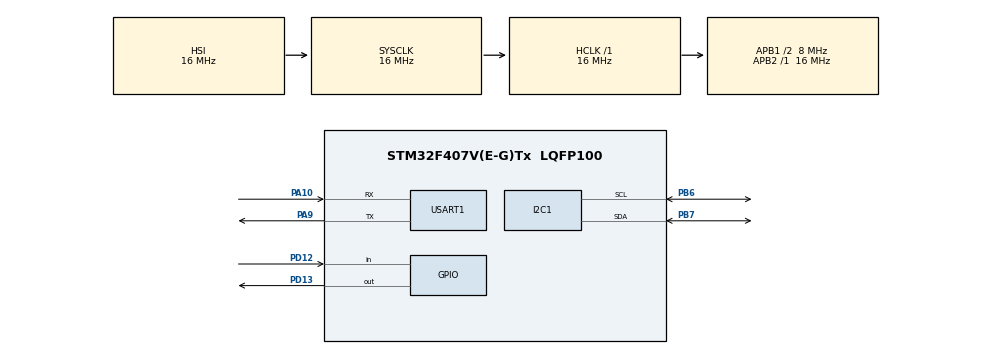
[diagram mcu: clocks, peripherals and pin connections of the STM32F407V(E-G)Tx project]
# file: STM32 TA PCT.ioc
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Mcu.Family=STM32F4
Mcu.Name=STM32F407V(E-G)Tx
Mcu.Package=LQFP100
NVIC.PriorityGroup=NVIC_PRIORITYGROUP_4
PA10.Mode=Asynchronous
PA10.Signal=USART1_RX
PA13.Mode=Serial_Wire
PA13.Signal=SYS_JTMS-SWDIO
PA14.Mode=Serial_Wire
PA14.Signal=SYS_JTCK-SWCLK
PA9.Mode=Asynchronous
PA9.Signal=USART1_TX
PB6.Mode=I2C
PB6.Signal=I2C1_SCL
PB7.Mode=I2C
PB7.Signal=I2C1_SDA
PD12.Signal=GPIO_Input
PD13.Signal=GPIO_Output
ProjectManager.HeapSize=0x200
ProjectManager.StackSize=0x400
ProjectManager.TargetToolchain=STM32CubeIDE
RCC.48MHZClocksFreq_Value=48000000
RCC.AHBFreq_Value=16000000
RCC.APB1CLKDivider=RCC_HCLK_DIV2
RCC.APB1Freq_Value=8000000
RCC.APB1TimFreq_Value=16000000
RCC.APB2Freq_Value=16000000
RCC.APB2TimFreq_Value=16000000
RCC.CortexFreq_Value=16000000
RCC.HCLKFreq_Value=16000000
RCC.HSE_VALUE=25000000
RCC.HSI_VALUE=16000000
RCC.LSE_VALUE=32768
RCC.SYSCLKFreq_VALUE=16000000
RCC.VCOOutputFreq_Value=192000000
USART1.VirtualMode=VM_ASYNC
board=custom

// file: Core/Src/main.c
/* USER CODE BEGIN Header */
/**
  ******************************************************************************
  * @file           : main.c
  * @brief          : Main program body
  ******************************************************************************
  * @attention
  *
  * Copyright (c) 2023 STMicroelectronics.
  * All rights reserved.
  *
  * This software is licensed under terms that can be found in the LICENSE file
  * in the root directory of this software component.
  * If no LICENSE file comes with this software, it is provided AS-IS.
  *
  ******************************************************************************
  */
/* USER CODE END Header */
#include "main.h"

/* USER CODE BEGIN Includes */
#include "ADS1115.h"
/* USER CODE END Includes */

I2C_HandleTypeDef hi2c1;

UART_HandleTypeDef huart1;

/* USER CODE BEGIN PV */
int n = 0;
int flow,level = 0;
uint32_t value=69;  // to store the adc values

void InitADS1115(); // You realisation I2C by default it's I2C1 pins PB6 PB7

uint_fast16_t getData(uint8_t number); void selectInput(uint8_t number);

/* USER CODE END PV */

void SystemClock_Config(void);
static void MX_GPIO_Init(void);
static void MX_I2C1_Init(void);
static void MX_USART1_UART_Init(void);

/* USER CODE BEGIN 0 */
#define ADS1115_ADDRESS 0x4A
unsigned char ADSwrite[6];
int16_t reading;
float voltage[4];
const float voltageConv = 6.114 / 32768.0;
/* USER CODE END 0 */

int main(void)
{
  /* USER CODE BEGIN 1 */
	uint8_t message[35] = {'\0'};
  /* USER CODE END 1 */

  /* MCU Configuration--------------------------------------------------------*/

  /* Reset of all peripherals, Initializes the Flash interface and the Systick. */
  HAL_Init();

  /* Configure the system clock */
  SystemClock_Config();

  /* Initialize all configured peripherals */
  MX_GPIO_Init();
  MX_I2C1_Init();
  MX_USART1_UART_Init();
  /* USER CODE BEGIN 2 */
//  void InitADS1115(); // You realisation I2C by default it's I2C1 pins PB6 PB7

//  uint_fast16_t getData(uint8_t number); void selectInput(uint8_t number);
  /* USER CODE END 2 */

  /* Infinite loop */
  while (1)
  {

    /* USER CODE BEGIN 3 */
//	  HAL_GPIO_WritePin(GPIOD, GPIO_PIN_13, GPIO_PIN_SET);
//	  HAL_ADC_Start_DMA(&hadc1, value, 1); //start adc in dma mode
//	  HAL_ADC_Start(&hadc1);
//	  HAL_ADC_PollForConversion(&hadc1, 1000);
////	  value = HAL_ADC_GetValue(&hadc1);
//	  HAL_ADC_Stop(&hadc1);
	  n = n+1;
//	  HAL_Delay(100);
//	  HAL_GPIO_WritePin(GPIOD, GPIO_PIN_13, GPIO_PIN_RESET);
//	  HAL_Delay(100);
	  for(int i=0; i< 4; i++){
	  			ADSwrite[0] = 0x01;

	  			switch(i){
	  				case(0):
	  					ADSwrite[1] = 0xC1; //11000001
	  				break;
	  				case(1):
	  					ADSwrite[1] = 0xD1; //11010001
	  				break;
	  				case(2):
	  					ADSwrite[1] = 0xE1;
	  				break;
	  				case(3):
	  					ADSwrite[1] = 0xF1;
	  				break;
	  			}

	  			ADSwrite[2] = 0x83; //10000011 LSB

	  			HAL_I2C_Master_Transmit(&hi2c1, ADS1115_ADDRESS << 1, ADSwrite, 3, 100);
	  			ADSwrite[0] = 0x00;
	  			HAL_I2C_Master_Transmit(&hi2c1, ADS1115_ADDRESS << 1 , ADSwrite, 1 ,100);
	  			HAL_Delay(20);

	  			HAL_I2C_Master_Receive(&hi2c1, ADS1115_ADDRESS <<1, ADSwrite, 2, 100);
	  			reading = (ADSwrite[0] << 8 | ADSwrite[1] );
	  			if(reading < 0) {
	  				reading = 0;
	  			}
	  			voltage[i] = reading * voltageConv;

	  		}
	  sprintf(message,"dadsadasd",reading);
	  HAL_UART_Transmit(&huart1, message, sizeof(message), 100);
//	  flow = value[0];
//	  level = value[1];

  }
  /* USER CODE END 3 */
}

void SystemClock_Config(void)
{
  RCC_OscInitTypeDef RCC_OscInitStruct = {0};
  RCC_ClkInitTypeDef RCC_ClkInitStruct = {0};

  /** Configure the main internal regulator output voltage
  */
  __HAL_RCC_PWR_CLK_ENABLE();
  __HAL_PWR_VOLTAGESCALING_CONFIG(PWR_REGULATOR_VOLTAGE_SCALE1);
  /** Initializes the RCC Oscillators according to the specified parameters
  * in the RCC_OscInitTypeDef structure.
  */
  RCC_OscInitStruct.OscillatorType = RCC_OSCILLATORTYPE_HSI;
  RCC_OscInitStruct.HSIState = RCC_HSI_ON;
  RCC_OscInitStruct.HSICalibrationValue = RCC_HSICALIBRATION_DEFAULT;
  RCC_OscInitStruct.PLL.PLLState = RCC_PLL_NONE;
  if (HAL_RCC_OscConfig(&RCC_OscInitStruct) != HAL_OK)
  {
    Error_Handler();
  }
  /** Initializes the CPU, AHB and APB buses clocks
  */
  RCC_ClkInitStruct.ClockType = RCC_CLOCKTYPE_HCLK|RCC_CLOCKTYPE_SYSCLK
                              |RCC_CLOCKTYPE_PCLK1|RCC_CLOCKTYPE_PCLK2;
  RCC_ClkInitStruct.SYSCLKSource = RCC_SYSCLKSOURCE_HSI;
  RCC_ClkInitStruct.AHBCLKDivider = RCC_SYSCLK_DIV1;
  RCC_ClkInitStruct.APB1CLKDivider = RCC_HCLK_DIV2;
  RCC_ClkInitStruct.APB2CLKDivider = RCC_HCLK_DIV1;

  if (HAL_RCC_ClockConfig(&RCC_ClkInitStruct, FLASH_LATENCY_0) != HAL_OK)
  {
    Error_Handler();
  }
}

static void MX_I2C1_Init(void)
{

  hi2c1.Instance = I2C1;
  hi2c1.Init.ClockSpeed = 100000;
  hi2c1.Init.DutyCycle = I2C_DUTYCYCLE_2;
  hi2c1.Init.OwnAddress1 = 0;
  hi2c1.Init.AddressingMode = I2C_ADDRESSINGMODE_7BIT;
  hi2c1.Init.DualAddressMode = I2C_DUALADDRESS_DISABLE;
  hi2c1.Init.OwnAddress2 = 0;
  hi2c1.Init.GeneralCallMode = I2C_GENERALCALL_DISABLE;
  hi2c1.Init.NoStretchMode = I2C_NOSTRETCH_DISABLE;
  if (HAL_I2C_Init(&hi2c1) != HAL_OK)
  {
    Error_Handler();
  }

}

static void MX_USART1_UART_Init(void)
{

  huart1.Instance = USART1;
  huart1.Init.BaudRate = 115200;
  huart1.Init.WordLength = UART_WORDLENGTH_8B;
  huart1.Init.StopBits = UART_STOPBITS_1;
  huart1.Init.Parity = UART_PARITY_NONE;
  huart1.Init.Mode = UART_MODE_TX_RX;
  huart1.Init.HwFlowCtl = UART_HWCONTROL_NONE;
  huart1.Init.OverSampling = UART_OVERSAMPLING_16;
  if (HAL_UART_Init(&huart1) != HAL_OK)
  {
    Error_Handler();
  }

}

static void MX_GPIO_Init(void)
{
  GPIO_InitTypeDef GPIO_InitStruct = {0};

  /* GPIO Ports Clock Enable */
  __HAL_RCC_GPIOD_CLK_ENABLE();
  __HAL_RCC_GPIOA_CLK_ENABLE();
  __HAL_RCC_GPIOB_CLK_ENABLE();

  /*Configure GPIO pin Output Level */
  HAL_GPIO_WritePin(GPIOD, GPIO_PIN_13, GPIO_PIN_RESET);

  /*Configure GPIO pin : PD12 */
  GPIO_InitStruct.Pin = GPIO_PIN_12;
  GPIO_InitStruct.Mode = GPIO_MODE_INPUT;
  GPIO_InitStruct.Pull = GPIO_NOPULL;
  HAL_GPIO_Init(GPIOD, &GPIO_InitStruct);

  /*Configure GPIO pin : PD13 */
  GPIO_InitStruct.Pin = GPIO_PIN_13;
  GPIO_InitStruct.Mode = GPIO_MODE_OUTPUT_PP;
  GPIO_InitStruct.Pull = GPIO_NOPULL;
  GPIO_InitStruct.Speed = GPIO_SPEED_FREQ_LOW;
  HAL_GPIO_Init(GPIOD, &GPIO_InitStruct);

}

void Error_Handler(void)
{
  __disable_irq();
  while (1)
  {
  }
}
